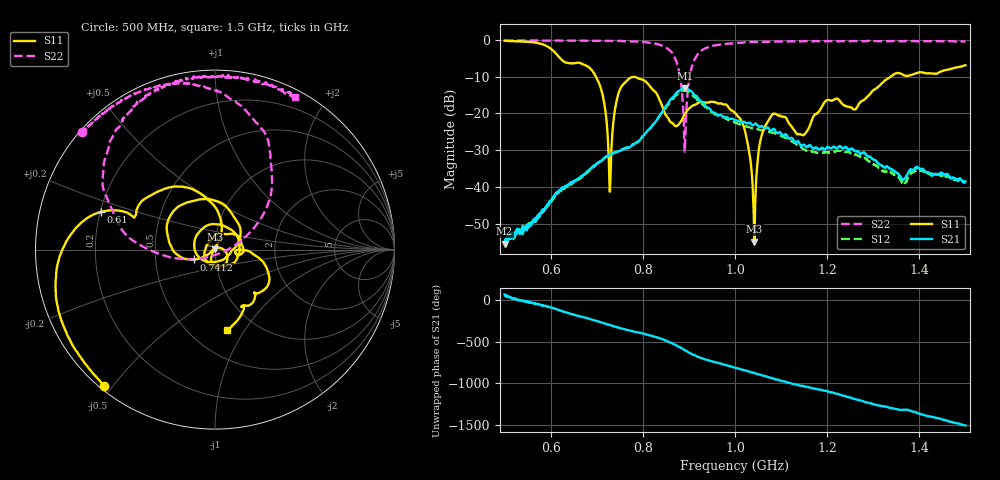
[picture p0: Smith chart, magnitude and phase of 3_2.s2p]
!Agilent Technologies,E8364B,US42250235,A.06.04.32
!Agilent E8364B: A.06.04.32
!Date: Friday, January 15, 2021 12:02:17
!Correction: S11(Full 2 Port(1,2)) S21(Full 2 Port(1,2)) S12(Full 2 Port(1,2)) S22(Full 2 Port(1,2))
!S2P File: Measurements: S11, S21, S12, S22:
# Hz S  dB  R 50
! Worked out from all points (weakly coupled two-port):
!   1601 points, 500 MHz to 1.5 GHz, reference 50 ohm
!   highest |S21| = -13.14 dB at 892.5 MHz (marker M1); lowest = -55.4 dB at 500 MHz (marker M2)
!   lowest |S11| = -54.9 dB at 1.042 GHz (marker M3), VSWR 1.00, Z = 49.9 + j0.113 ohm
!   |S11| at or under -10 dB: 698.2 MHz to 1.338 GHz (639.3 MHz wide, 62.8 % of centre)
!   |S22| runs from -30.4 to -0.1 dB; largest |S21 - S12| = 0.021
!   S11 on the Smith chart (normalised r, x): 500 MHz: 0.01, -0.47; 610 MHz: 0.20, +0.15; 741.2 MHz: 0.78, -0.09; 1.5 GHz: 0.74, -0.84
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5e8  -0.19 -129.2  -55.45 64.0  -55.47 53.0  -0.12 138.6
5.7e8  -0.78 -166.4  -48.81 -50.2  -48.07 -49.3  -0.15 132.1
6.1e8  -3.46 161.8  -41.95 -108.0  -42.23 -105.6  -0.15 127.9
6.66875e8  -6.41 142.7  -37.15 157.1  -37.45 159.1  -0.15 122.1
7.09375e8  -13.32 86.2  -32.95 90.5  -32.98 92.0  -0.20 117.3
7.28125e8  -41.30 119.8  -31.30 58.4  -31.22 58.1  -0.21 114.3
7.4125e8  -17.65 -155.2  -30.62 36.0  -30.54 35.8  -0.29 112.4
7.775e8  -10.06 140.8  -28.68 -15.3  -28.41 -18.3  -0.39 105.0
8.3375e8  -15.53 31.6  -21.03 -95.4  -21.14 -100.3  -1.16 87.4
8.71875e8  -23.44 -73.4  -14.49 176.0  -15.09 171.5  -5.57 53.1
8.925e8  -19.96 -158.2  -13.14 111.8  -13.76 108.5  -24.98 -133.1
9.03125e8  -18.34 162.0  -13.75 79.2  -14.45 75.7  -8.99 -179.0
9.18125e8  -17.27 117.7  -15.49 40.3  -16.26 38.2  -4.03 157.5
1e9  -19.83 -64.7  -21.87 -94.4  -22.48 -100.2  -0.86 121.0
1.02375e9  -25.95 -114.9  -22.57 -130.9  -23.51 -136.3  -0.64 117.5
1.041875e9  -54.87 140.9  -22.96 -156.9  -24.14 -162.7  -0.52 114.5
1.055625e9  -27.06 3.9  -23.50 -179.5  -24.45 175.3  -0.49 111.5
1.078125e9  -20.79 -42.5  -24.68 144.3  -25.16 140.1  -0.45 108.1
1.144375e9  -25.77 136.5  -28.83 48.8  -29.27 38.1  -0.36 100.2
1.166875e9  -21.71 88.5  -29.21 18.9  -30.35 14.0  -0.34 97.8
1.33375e9  -10.32 -19.3  -34.68 148.1  -35.90 136.9  -0.29 80.9
1.5e9  -6.87 -81.4  -38.52 -67.8  -38.63 -86.7  -0.35 62.5
